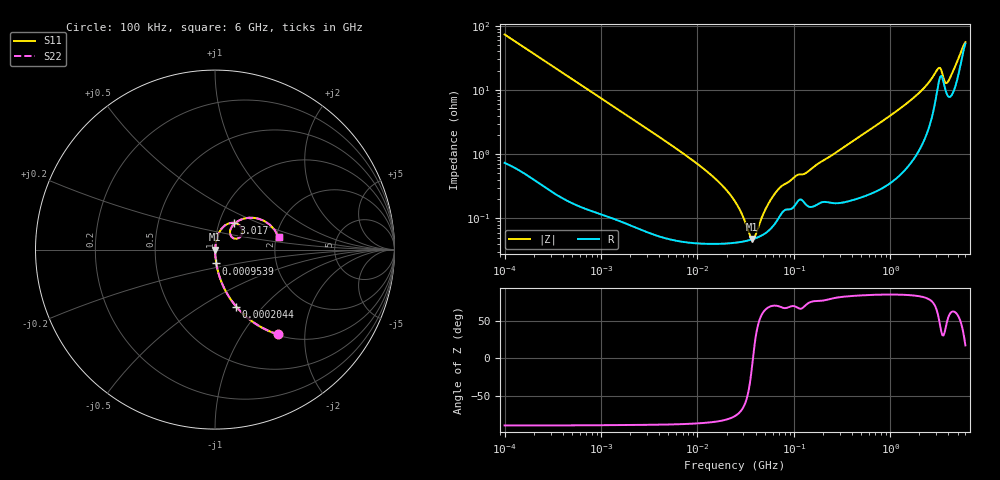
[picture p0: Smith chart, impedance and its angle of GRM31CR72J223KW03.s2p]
!Murata Part Number: GRM31CR72J223KW03
!These Parameters are Measured in Series Mode Connection
!Data Generated on Mar 30, 2021
!  o--ll--o
!Port1  Port2
!  o------o
!Operation Temp=25[degC], DC Bias Voltage=0[V]
!Freq. Start=100[kHz] Stop=6[GHz] 401[Steps]
# Hz S RI R 50
!Freq.(Hz) S11(Real) S11(Imag) S21(Real) S21(Imag) S12(Real) S12(Imag) S22(Real) S22(Imag)
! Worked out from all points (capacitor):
!   401 points, 100 kHz to 6 GHz, reference 50 ohm
!   read as one part in series: C = 21.6 nF near 105.7 kHz
!   lowest |Z| = 47.6 mohm at 37 MHz (marker M1)
!   series resonance near 37.62 MHz, so ESL is about 830 pH
!   S11 on the Smith chart (normalised r, x): 100 kHz: 1.01, -1.47; 204.4 kHz: 1.01, -0.72; 953.9 kHz: 1.00, -0.16; 3.017 GHz: 1.17, +0.36; 6 GHz: 2.06, +0.33
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100000  0.3513 -0.4724  0.6487 0.4724  0.6487 0.4724  0.3513 -0.4724
204447  0.1179 -0.3171  0.8821 0.3171  0.8821 0.3171  0.1179 -0.3171
631452  0.015 -0.1156  0.985 0.1156  0.985 0.1156  0.015 -0.1156
953940  0.0072 -0.0773  0.9928 0.0773  0.9928 0.0773  0.0072 -0.0773
3987316  0.000872 -0.0187  0.9991 0.0187  0.9991 0.0187  0.000872 -0.0187
1.374747e7  0.000422 -0.00477  0.9996 0.00477  0.9996 0.00477  0.000422 -0.00477
1.965679e7  0.000412 -0.0028  0.9996 0.0028  0.9996 0.0028  0.000412 -0.0028
2.517799e7  0.000421 -0.00167  0.9996 0.00167  0.9996 0.00167  0.000421 -0.00167
3.700465e7  0.000471 -6.67e-05  0.9995 6.67e-05  0.9995 6.67e-05  0.000471 -6.67e-05
4.018763e7  0.000491 0.00027  0.9995 -0.00027  0.9995 -0.00027  0.000491 0.00027
5.291103e7  0.000618 0.00144  0.9994 -0.00144  0.9994 -0.00144  0.000618 0.00144
6.777267e7  0.00096 0.00258  0.999 -0.00258  0.999 -0.00258  0.00096 0.00258
1.0524e8  0.0017 0.00428  0.9983 -0.00428  0.9983 -0.00428  0.0017 0.00428
1.546735e8  0.00154 0.00587  0.9985 -0.00587  0.9985 -0.00587  0.00154 0.00587
9.76689e8  0.00494 0.0385  0.9951 -0.0385  0.9951 -0.0385  0.00494 0.0385
1.942633e9  0.0179 0.0843  0.9821 -0.0843  0.9821 -0.0843  0.0179 0.0843
3.016594e9  0.1037 0.1494  0.8963 -0.1494  0.8963 -0.1494  0.1037 0.1494
3.276068e9  0.1516 0.1123  0.8484 -0.1123  0.8484 -0.1123  0.1516 0.1123
3.65708e9  0.1047 0.0622  0.8953 -0.0622  0.8953 -0.0622  0.1047 0.0622
3.863894e9  0.086 0.0811  0.914 -0.0811  0.914 -0.0811  0.086 0.0811
5.087202e9  0.1881 0.1775  0.8119 -0.1775  0.8119 -0.1775  0.1881 0.1775
6e9  0.354 0.0695  0.646 -0.0695  0.646 -0.0695  0.354 0.0695
